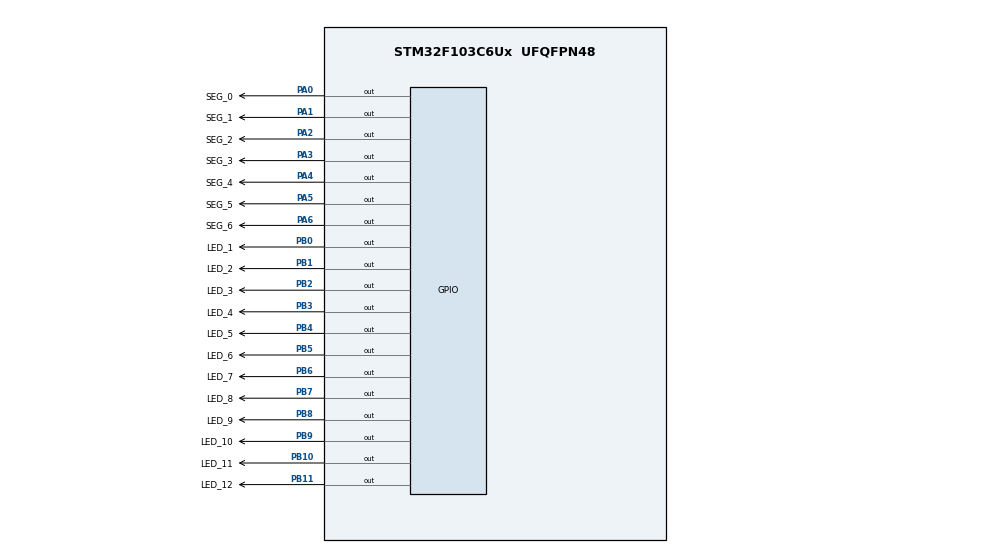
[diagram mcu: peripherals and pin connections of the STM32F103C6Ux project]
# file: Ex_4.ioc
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Mcu.Family=STM32F1
Mcu.Name=STM32F103C6Ux
Mcu.Package=UFQFPN48
NVIC.PriorityGroup=NVIC_PRIORITYGROUP_4
PA0-WKUP.GPIO_Label=SEG_0
PA0-WKUP.Signal=GPIO_Output
PA1.GPIO_Label=SEG_1
PA1.Signal=GPIO_Output
PA2.GPIO_Label=SEG_2
PA2.Signal=GPIO_Output
PA3.GPIO_Label=SEG_3
PA3.Signal=GPIO_Output
PA4.GPIO_Label=SEG_4
PA4.Signal=GPIO_Output
PA5.GPIO_Label=SEG_5
PA5.Signal=GPIO_Output
PA6.GPIO_Label=SEG_6
PA6.Signal=GPIO_Output
PB0.GPIO_Label=LED_1
PB0.Signal=GPIO_Output
PB1.GPIO_Label=LED_2
PB1.Signal=GPIO_Output
PB10.GPIO_Label=LED_11
PB10.Signal=GPIO_Output
PB11.GPIO_Label=LED_12
PB11.Signal=GPIO_Output
PB2.GPIO_Label=LED_3
PB2.Signal=GPIO_Output
PB3.GPIO_Label=LED_4
PB3.Signal=GPIO_Output
PB4.GPIO_Label=LED_5
PB4.Signal=GPIO_Output
PB5.GPIO_Label=LED_6
PB5.Signal=GPIO_Output
PB6.GPIO_Label=LED_7
PB6.Signal=GPIO_Output
PB7.GPIO_Label=LED_8
PB7.Signal=GPIO_Output
PB8.GPIO_Label=LED_9
PB8.Signal=GPIO_Output
PB9.GPIO_Label=LED_10
PB9.Signal=GPIO_Output
ProjectManager.HeapSize=0x200
ProjectManager.StackSize=0x400
ProjectManager.TargetToolchain=STM32CubeIDE
RCC.APB1Freq_Value=8000000
RCC.APB2Freq_Value=8000000
VP_SYS_VS_ND.Mode=No_Debug
board=custom

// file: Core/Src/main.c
/* USER CODE BEGIN Header */
/**
  ******************************************************************************
  * @file           : main.c
  * @brief          : Main program body
  ******************************************************************************
  * @attention
  *
  * <h2><center>&copy; Copyright (c) 2025 STMicroelectronics.
  * All rights reserved.</center></h2>
  *
  * This software component is licensed by ST under BSD 3-Clause license,
  * the "License"; You may not use this file except in compliance with the
  * License. You may obtain a copy of the License at:
  *                        opensource.org/licenses/BSD-3-Clause
  *
  ******************************************************************************
  */
/* USER CODE END Header */
#include "main.h"

void SystemClock_Config(void);
static void MX_GPIO_Init(void);
/* USER CODE BEGIN PFP */
void set_LEDS(GPIO_PinState *L_LEDS_state);
void display7SEG(int number);
//void set_7SEG_X(const GPIO_PinState *L_LEDS_X_state);
//void set_7SEG_Y(const GPIO_PinState *L_LEDS_Y_state);
/* USER CODE END PFP */

/* USER CODE BEGIN 0 */
//GPIO_TypeDef *LED_PORTS[12] = {
//		LED_1_GPIO_Port, LED_2_GPIO_Port, LED_3_GPIO_Port,
//		LED_4_GPIO_Port, LED_5_GPIO_Port, LED_6_GPIO_Port,
//		LED_7_GPIO_Port, LED_8_GPIO_Port, LED_9_GPIO_Port,
//		LED_10_GPIO_Port, LED_11_GPIO_Port, LED_12_GPIO_Port
//};
//
//uint16_t LED_PINS[12] = {
//		LED_1_Pin, LED_2_Pin, LED_3_Pin,
//		LED_4_Pin, LED_5_Pin, LED_6_Pin,
//		LED_7_Pin, LED_8_Pin, LED_9_Pin,
//		LED_10_Pin, LED_11_Pin, LED_12_Pin
//};

//GPIO_PinState LEDS_state[4][12] = {
//		{ 1, 1, 0, 0, 0, 0, 1, 1, 0, 0, 0, 0 },
//		{ 0, 1, 0, 0, 0, 1, 0, 1, 0, 0, 0, 1 },
//		{ 0, 0, 0, 1, 1, 0, 0, 0, 0, 1, 1, 0 },
//		{ 0, 0, 1, 0, 1, 0, 0, 0, 1, 0, 1, 0 }
//};

GPIO_TypeDef *SEG_PORTS[12] = {
		SEG_0_GPIO_Port, SEG_1_GPIO_Port, SEG_2_GPIO_Port,
		SEG_3_GPIO_Port, SEG_4_GPIO_Port, SEG_5_GPIO_Port,
		SEG_6_GPIO_Port
};

uint16_t SEG_PINS[12] = {
		SEG_0_Pin, SEG_1_Pin, SEG_2_Pin, SEG_3_Pin,
		SEG_4_Pin, SEG_5_Pin, SEG_6_Pin
};

GPIO_PinState LEDS_state[10][7] = {
		{ 0, 0, 0, 0, 0, 0, 1 },
		{ 1, 0, 0, 1, 1, 1, 1 },
		{ 0, 0, 1, 0, 0, 1, 0 },
		{ 0, 0, 0, 0, 1, 1, 0 },
		{ 1, 0, 0, 1, 1, 0, 0 },
		{ 0, 1, 0, 0, 1, 0, 0 },
		{ 0, 1, 0, 0, 0, 0, 0 },
		{0, 0, 0, 1, 1, 1, 1 },
		{ 0, 0, 0, 0, 0, 0, 0 },
		{ 0, 0, 0, 0, 1, 0,0 }
};
/* USER CODE END 0 */

int main(void)
{
  /* USER CODE BEGIN 1 */
	int counter = 0;
  /* USER CODE END 1 */

  /* MCU Configuration--------------------------------------------------------*/

  /* Reset of all peripherals, Initializes the Flash interface and the Systick. */
  HAL_Init();

  /* Configure the system clock */
  SystemClock_Config();

  /* Initialize all configured peripherals */
  MX_GPIO_Init();

  /* Infinite loop */
  /* USER CODE BEGIN WHILE */
  while (1)
  {
	  if (counter >= 10)
		  counter = 0;
	  display7SEG(counter++);
	  HAL_Delay(1000);
    /* USER CODE END WHILE */

  }
}

void SystemClock_Config(void)
{
  RCC_OscInitTypeDef RCC_OscInitStruct = {0};
  RCC_ClkInitTypeDef RCC_ClkInitStruct = {0};

  /** Initializes the RCC Oscillators according to the specified parameters
  * in the RCC_OscInitTypeDef structure.
  */
  RCC_OscInitStruct.OscillatorType = RCC_OSCILLATORTYPE_HSI;
  RCC_OscInitStruct.HSIState = RCC_HSI_ON;
  RCC_OscInitStruct.HSICalibrationValue = RCC_HSICALIBRATION_DEFAULT;
  RCC_OscInitStruct.PLL.PLLState = RCC_PLL_NONE;
  if (HAL_RCC_OscConfig(&RCC_OscInitStruct) != HAL_OK)
  {
    Error_Handler();
  }
  /** Initializes the CPU, AHB and APB buses clocks
  */
  RCC_ClkInitStruct.ClockType = RCC_CLOCKTYPE_HCLK|RCC_CLOCKTYPE_SYSCLK
                              |RCC_CLOCKTYPE_PCLK1|RCC_CLOCKTYPE_PCLK2;
  RCC_ClkInitStruct.SYSCLKSource = RCC_SYSCLKSOURCE_HSI;
  RCC_ClkInitStruct.AHBCLKDivider = RCC_SYSCLK_DIV1;
  RCC_ClkInitStruct.APB1CLKDivider = RCC_HCLK_DIV1;
  RCC_ClkInitStruct.APB2CLKDivider = RCC_HCLK_DIV1;

  if (HAL_RCC_ClockConfig(&RCC_ClkInitStruct, FLASH_LATENCY_0) != HAL_OK)
  {
    Error_Handler();
  }
}

static void MX_GPIO_Init(void)
{
  GPIO_InitTypeDef GPIO_InitStruct = {0};

  /* GPIO Ports Clock Enable */
  __HAL_RCC_GPIOA_CLK_ENABLE();
  __HAL_RCC_GPIOB_CLK_ENABLE();

  /*Configure GPIO pin Output Level */
  HAL_GPIO_WritePin(GPIOA, SEG_0_Pin|SEG_1_Pin|SEG_2_Pin|SEG_3_Pin
                          |SEG_4_Pin|SEG_5_Pin|SEG_6_Pin, GPIO_PIN_RESET);

  /*Configure GPIO pin Output Level */
  HAL_GPIO_WritePin(GPIOB, LED_1_Pin|LED_2_Pin|LED_3_Pin|LED_11_Pin
                          |LED_12_Pin|LED_4_Pin|LED_5_Pin|LED_6_Pin
                          |LED_7_Pin|LED_8_Pin|LED_9_Pin|LED_10_Pin, GPIO_PIN_RESET);

  /*Configure GPIO pins : SEG_0_Pin SEG_1_Pin SEG_2_Pin SEG_3_Pin
                           SEG_4_Pin SEG_5_Pin SEG_6_Pin */
  GPIO_InitStruct.Pin = SEG_0_Pin|SEG_1_Pin|SEG_2_Pin|SEG_3_Pin
                          |SEG_4_Pin|SEG_5_Pin|SEG_6_Pin;
  GPIO_InitStruct.Mode = GPIO_MODE_OUTPUT_PP;
  GPIO_InitStruct.Pull = GPIO_NOPULL;
  GPIO_InitStruct.Speed = GPIO_SPEED_FREQ_LOW;
  HAL_GPIO_Init(GPIOA, &GPIO_InitStruct);

  /*Configure GPIO pins : LED_1_Pin LED_2_Pin LED_3_Pin LED_11_Pin
                           LED_12_Pin LED_4_Pin LED_5_Pin LED_6_Pin
                           LED_7_Pin LED_8_Pin LED_9_Pin LED_10_Pin */
  GPIO_InitStruct.Pin = LED_1_Pin|LED_2_Pin|LED_3_Pin|LED_11_Pin
                          |LED_12_Pin|LED_4_Pin|LED_5_Pin|LED_6_Pin
                          |LED_7_Pin|LED_8_Pin|LED_9_Pin|LED_10_Pin;
  GPIO_InitStruct.Mode = GPIO_MODE_OUTPUT_PP;
  GPIO_InitStruct.Pull = GPIO_NOPULL;
  GPIO_InitStruct.Speed = GPIO_SPEED_FREQ_LOW;
  HAL_GPIO_Init(GPIOB, &GPIO_InitStruct);

}

/* USER CODE BEGIN 4 */
void set_LEDS(GPIO_PinState *L_LEDS_state) {
	for (int i = 0; i < 7; i++) {
		 HAL_GPIO_WritePin(SEG_PORTS[i], SEG_PINS[i], L_LEDS_state[i]);
	}
 }

void display7SEG(int number)  {
	switch (number) {
		case 0:
			set_LEDS(LEDS_state[0]);
			break;
	 	case 1:
	 		set_LEDS(LEDS_state[1]);
	 		break;
	 	case 2:
	 		set_LEDS(LEDS_state[2]);
	 		break;
	 	case 3:
	 		set_LEDS(LEDS_state[3]);
	 		break;
	 	case 4:
	 		set_LEDS(LEDS_state[4]);
	 		break;
	 	case 5:
	 		set_LEDS(LEDS_state[5]);
	 		break;
	 	case 6:
	 		set_LEDS(LEDS_state[6]);
	 		break;
	 	case 7:
	 		set_LEDS(LEDS_state[7]);
	 		break;
	 	case 8:
	 		set_LEDS(LEDS_state[8]);
	 		break;
	 	case 9:
	 		set_LEDS(LEDS_state[9]);
	 		break;
	 	default:
	 		break;
	 	 }
}

//void set_7SEG_X(const GPIO_PinState *L_LEDS_X_state) {
//	for (int i = 0; i < 7; i++) {
//		HAL_GPIO_WritePin(SEG_PORTS[i], SEG_PINS[i], L_LEDS_X_state[i]);
//	}
//}
//
//void set_7SEG_Y(const GPIO_PinState *L_LEDS_Y_state) {
//	for (int i = 0; i < 7; i++) {
//		HAL_GPIO_WritePin(SEG_PORTS[i + 7], SEG_PINS[i + 7],
//				L_LEDS_Y_state[i]);
//	}
//}

/* USER CODE END 4 */

void Error_Handler(void)
{
  __disable_irq();
  while (1)
  {
  }
}

/************************ (C) COPYRIGHT STMicroelectronics *****END OF FILE****/
